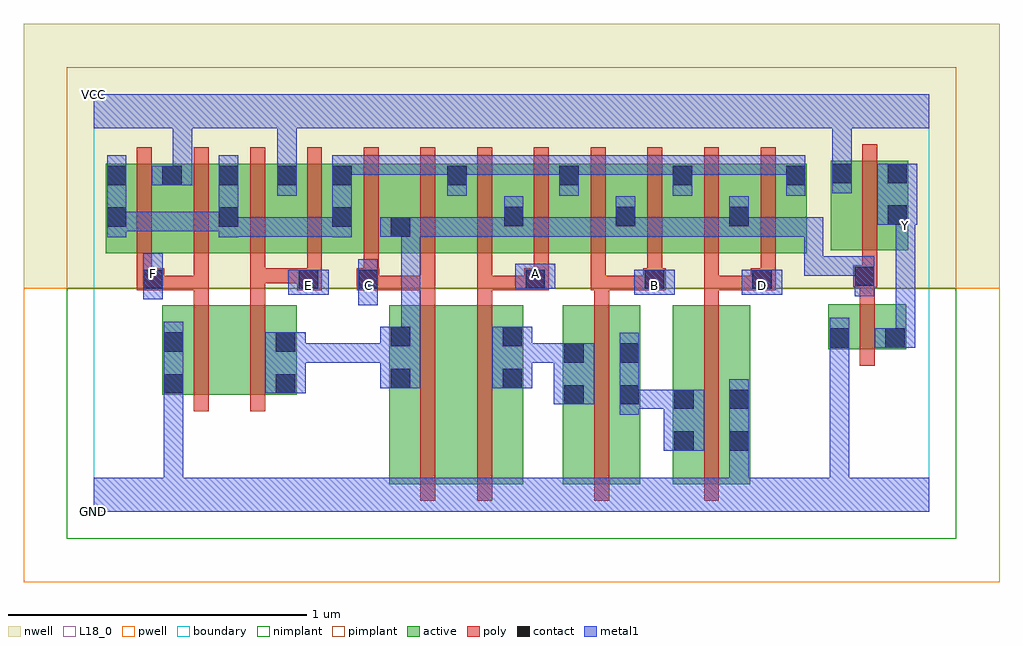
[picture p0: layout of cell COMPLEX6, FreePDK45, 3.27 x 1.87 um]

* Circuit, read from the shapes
.subckt COMPLEX6 A B C D E F GND VCC Y
M1 n1 F GND VSUBS nfet w=0.3u l=0.05u
M2 n2 E n1 VSUBS nfet w=0.3u l=0.05u
M3 n3 C n2 VSUBS nfet w=0.6u l=0.05u
M4 n4 A n3 VSUBS nfet w=0.6u l=0.05u
M5 n5 B n4 VSUBS nfet w=0.6u l=0.05u
M6 GND D n5 VSUBS nfet w=0.6u l=0.05u
M7 Y n2 GND VSUBS nfet w=0.15u l=0.05u
M8 VCC F n6 n7 pfet w=0.3u l=0.05u m=2
M9 VCC E n6 n7 pfet w=0.3u l=0.05u m=2
M10 n2 C n6 n7 pfet w=0.3u l=0.05u m=2
M11 n2 A n6 n7 pfet w=0.3u l=0.05u m=2
M12 n2 B n6 n7 pfet w=0.3u l=0.05u m=2
M13 n2 D n6 n7 pfet w=0.3u l=0.05u m=2
M14 Y n2 VCC n7 pfet w=0.3u l=0.05u
.ends

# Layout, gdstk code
import gdstk
lib = gdstk.Library(unit=1e-6, precision=1e-09)
def R(c, l, rs):  # rectangles x0, y0, x1, y1
    for r in rs: c.add(gdstk.rectangle(r[:2], r[2:], *l))
def A(c, l, x, y, w, h, nx, ny, dx, dy):  # array of equal rectangles
    R(c, l, [(x+i*dx, y+j*dy, x+i*dx+w, y+j*dy+h) for i in range(nx) for j in range(ny)])
active = (1, 0)
pwell = (2, 0)
nwell = (3, 0)
nimplant = (4, 0)
pimplant = (5, 0)
poly = (9, 0)
contact = (10, 0)
metal1 = (11, 0)
L18_0 = (18, 0)
boundary = (235, 0)

complex6 = lib.new_cell('COMPLEX6')
A(complex6, active, 1.555, 0.867, 0.265, 0.3, 4, 1, 0.19, 0)
R(complex6, active, [(0.99,0.092,1.215,0.692), (1.215,0.092,1.44,0.692), (1.572,0.092,1.832,0.692), (1.94,0.092,2.2,0.692), (0.99,0.095,1.095,0.692), (1.365,0.095,1.44,0.692), (1.572,0.095,1.647,0.692), (1.757,0.095,1.832,0.692), (1.94,0.095,2.015,0.692), (2.125,0.095,2.2,0.692), (0.23,0.392,0.305,0.692), (0.23,0.392,0.455,0.692), (0.455,0.392,0.68,0.692), (0.605,0.392,0.68,0.692), (2.462,0.545,2.537,0.695), (2.462,0.545,2.722,0.695), (2.647,0.545,2.722,0.695), (0.04,0.867,0.115,1.167), (0.04,0.867,0.3,1.167), (0.225,0.867,0.49,1.167), (0.415,0.867,0.49,1.165), (0.415,0.867,0.685,1.167), (0.61,0.867,0.87,1.167), (0.795,0.867,0.87,1.165), (0.795,0.867,1.065,1.167), (0.99,0.867,1.255,1.167), (1.18,0.867,1.445,1.167), (1.37,0.867,1.63,1.167), (2.315,0.867,2.39,1.165), (2.47,0.877,2.545,1.177), (2.47,0.877,2.73,1.177), (2.655,0.877,2.73,1.177), (0.99,0.917,1.065,1.07), (1.37,0.952,1.445,1.07), (1.745,0.952,1.82,1.07), (2.125,0.952,2.2,1.07), (0.225,0.995,0.3,1.167), (0.61,0.995,0.685,1.165), (1.18,0.995,1.255,1.165), (1.555,0.995,1.63,1.165), (1.935,0.995,2.01,1.165)])
R(complex6, pwell, [(-0.235,-0.235,3.035,0.75)])
R(complex6, nwell, [(-0.235,0.75,3.035,1.635)])
R(complex6, nimplant, [(-0.09,-0.09,2.89,0.75)])
R(complex6, pimplant, [(-0.09,0.75,2.89,1.49)])
A(complex6, poly, 0.682, 0.742, 0.083, 0.075, 3, 1, 0.76, 0)
A(complex6, poly, 1.285, 0.742, 0.05, 0.12, 3, 1, 0.38, 0)
A(complex6, poly, 0.525, 0.767, 0.05, 0.095, 3, 1, 0.19, 0)
A(complex6, poly, 1.475, 0.767, 0.05, 0.095, 3, 1, 0.38, 0)
A(complex6, poly, 0.145, 0.812, 0.05, 0.41, 12, 1, 0.19, 0)
R(complex6, poly, [(1.095,0.037,1.145,0.747), (1.285,0.037,1.335,0.747), (1.677,0.037,1.727,0.747), (2.045,0.037,2.095,0.747), (0.335,0.337,0.385,0.747), (0.525,0.337,0.575,0.747), (2.567,0.49,2.617,0.75), (0.335,0.697,0.385,0.792), (0.525,0.697,0.575,0.817), (1.095,0.697,1.145,0.792), (1.285,0.697,1.335,0.792), (1.677,0.697,1.727,0.792), (2.045,0.697,2.095,0.792), (2.567,0.7,2.617,0.802), (0.145,0.742,0.237,0.817), (0.187,0.742,0.237,0.792), (0.187,0.742,0.237,0.792), (0.187,0.742,0.385,0.792), (0.335,0.742,0.385,0.792), (0.335,0.742,0.385,0.862), (0.882,0.742,0.957,0.817), (0.907,0.742,0.957,0.792), (0.907,0.742,0.957,0.792), (0.907,0.742,1.145,0.792), (1.095,0.742,1.145,0.792), (1.095,0.742,1.145,0.862), (1.285,0.742,1.335,0.792), (1.285,0.742,1.335,0.792), (1.285,0.742,1.335,0.792), (1.285,0.742,1.492,0.792), (1.665,0.742,1.727,0.792), (1.677,0.742,1.892,0.792), (1.842,0.742,1.892,0.792), (1.842,0.742,1.892,0.792), (1.842,0.742,1.917,0.817), (2.045,0.742,2.095,0.792), (2.045,0.742,2.252,0.792), (2.202,0.742,2.252,0.792), (2.202,0.742,2.252,0.792), (2.545,0.752,2.625,0.827), (0.145,0.767,0.195,0.862), (0.525,0.767,0.575,0.817), (0.525,0.767,0.575,0.817), (0.525,0.767,0.575,0.817), (0.525,0.767,0.732,0.817), (2.575,0.777,2.625,0.872), (2.575,0.822,2.625,1.232)])
A(complex6, contact, 1.56, 1.095, 0.065, 0.065, 3, 1, 0.38, 0)
R(complex6, contact, [(1.945,0.205,2.01,0.27), (2.13,0.205,2.195,0.27), (1.945,0.345,2.01,0.41), (2.13,0.345,2.195,0.41), (1.577,0.36,1.642,0.425), (1.762,0.36,1.827,0.425), (0.235,0.397,0.3,0.462), (0.61,0.397,0.675,0.462), (0.995,0.415,1.06,0.48), (1.37,0.415,1.435,0.48), (1.577,0.5,1.642,0.565), (1.762,0.5,1.827,0.565), (0.235,0.537,0.3,0.602), (0.61,0.537,0.675,0.602), (2.467,0.55,2.532,0.615), (2.652,0.55,2.717,0.615), (0.995,0.555,1.06,0.62), (1.37,0.555,1.435,0.62), (0.167,0.747,0.232,0.812), (0.687,0.747,0.752,0.812), (0.887,0.747,0.952,0.812), (1.447,0.747,1.512,0.812), (1.847,0.747,1.912,0.812), (2.207,0.747,2.272,0.812), (2.55,0.757,2.615,0.822), (0.995,0.922,1.06,0.987), (0.045,0.955,0.11,1.02), (0.42,0.955,0.485,1.02), (0.8,0.955,0.865,1.02), (1.375,0.957,1.44,1.022), (1.75,0.957,1.815,1.022), (2.13,0.957,2.195,1.022), (2.66,0.962,2.725,1.027), (0.045,1.095,0.11,1.16), (0.23,1.095,0.295,1.16), (0.42,1.095,0.485,1.16), (0.615,1.095,0.68,1.16), (0.8,1.095,0.865,1.16), (1.185,1.095,1.25,1.16), (2.475,1.102,2.54,1.167), (2.66,1.102,2.725,1.167)])
A(complex6, metal1, 1.56, 1.06, 0.065, 0.135, 3, 1, 0.38, 0)
R(complex6, metal1, [(0,0,2.8,0.115), (0.235,0.05,0.3,0.427), (2.13,0.05,2.195,0.235), (2.467,0.05,2.532,0.58), (2.13,0.17,2.195,0.445), (1.91,0.205,2.045,0.41), (1.762,0.325,1.827,0.6), (1.762,0.345,1.827,0.41), (1.762,0.345,1.827,0.41), (1.762,0.345,1.975,0.41), (1.542,0.36,1.677,0.565), (0.235,0.362,0.3,0.427), (0.235,0.362,0.3,0.427), (0.235,0.362,0.3,0.427), (0.235,0.362,0.3,0.427), (0.235,0.362,0.3,0.637), (0.575,0.397,0.71,0.602), (0.96,0.415,1.095,0.62), (1.335,0.415,1.47,0.62), (0.645,0.5,0.71,0.565), (0.645,0.5,0.71,0.565), (0.645,0.5,0.887,0.565), (0.822,0.5,0.887,0.565), (0.822,0.5,0.887,0.565), (0.822,0.5,0.887,0.565), (0.822,0.5,1.025,0.565), (1.405,0.5,1.47,0.565), (1.405,0.5,1.47,0.565), (1.405,0.5,1.607,0.565), (2.467,0.515,2.532,0.58), (2.467,0.515,2.532,0.58), (2.467,0.515,2.532,0.58), (2.467,0.515,2.532,0.58), (2.467,0.515,2.532,0.58), (2.467,0.515,2.532,0.58), (2.467,0.515,2.532,0.65), (2.617,0.55,2.752,0.615), (2.687,0.55,2.752,0.957), (1.03,0.555,1.095,0.987), (0.887,0.692,0.952,0.847), (0.167,0.712,0.232,0.867), (2.55,0.722,2.615,0.857), (0.652,0.727,0.787,0.812), (1.812,0.727,1.947,0.812), (2.172,0.727,2.307,0.812), (1.412,0.747,1.547,0.832), (2.38,0.792,2.445,0.857), (2.38,0.792,2.615,0.857), (2.38,0.792,2.445,0.987), (2.687,0.892,2.752,1.027), (0.045,0.92,0.11,1.195), (0.42,0.92,0.485,1.195), (0.8,0.92,0.865,1.195), (0.42,0.922,0.485,0.987), (0.42,0.922,0.485,0.987), (0.42,0.922,0.727,0.987), (0.662,0.922,0.727,0.987), (0.662,0.922,0.727,0.987), (0.662,0.922,0.727,0.987), (0.662,0.922,0.865,0.987), (0.96,0.922,1.095,0.987), (1.03,0.922,1.095,0.987), (1.03,0.922,1.095,0.987), (1.03,0.922,1.095,0.987), (1.03,0.922,1.095,0.987), (1.03,0.922,1.262,0.987), (1.197,0.922,1.262,0.987), (1.197,0.922,1.262,0.987), (1.197,0.922,1.262,0.987), (1.197,0.922,1.44,0.987), (1.375,0.922,1.44,0.987), (1.375,0.922,1.44,0.987), (1.375,0.922,1.44,1.057), (1.375,0.922,1.607,0.987), (1.542,0.922,1.607,0.987), (1.542,0.922,1.607,0.987), (1.542,0.922,1.607,0.987), (1.542,0.922,1.815,0.987), (1.75,0.922,1.815,0.987), (1.75,0.922,1.815,0.987), (1.75,0.922,1.815,1.057), (1.75,0.922,2.057,0.987), (1.992,0.922,2.057,0.987), (1.992,0.922,2.057,0.987), (1.992,0.922,2.057,0.987), (1.992,0.922,2.195,0.987), (2.13,0.922,2.195,0.987), (2.13,0.922,2.195,0.987), (2.13,0.922,2.195,1.057), (2.13,0.922,2.332,0.987), (2.267,0.922,2.332,0.987), (2.267,0.922,2.445,0.987), (2.38,0.922,2.445,0.987), (0.045,0.94,0.11,1.005), (0.045,0.94,0.11,1.005), (0.045,0.94,0.247,1.005), (0.182,0.94,0.247,1.005), (0.182,0.94,0.247,1.005), (0.182,0.94,0.247,1.005), (0.182,0.94,0.485,1.005), (2.625,0.962,2.76,1.167), (2.687,0.962,2.752,1.027), (0.615,1.06,0.68,1.195), (1.185,1.06,1.25,1.195), (2.475,1.067,2.54,1.202), (0.195,1.095,0.33,1.16), (0.265,1.095,0.33,1.16), (0.265,1.095,0.33,1.16), (0.265,1.095,0.33,1.35), (0.615,1.13,0.68,1.35), (0.8,1.13,0.865,1.195), (0.8,1.13,0.865,1.195), (0.8,1.13,0.865,1.195), (0.8,1.13,0.865,1.195), (0.8,1.13,1.112,1.195), (1.047,1.13,1.112,1.195), (1.047,1.13,1.112,1.195), (1.047,1.13,1.112,1.195), (1.047,1.13,1.25,1.195), (1.185,1.13,1.25,1.195), (1.185,1.13,1.25,1.195), (1.185,1.13,1.47,1.195), (1.405,1.13,1.47,1.195), (1.405,1.13,1.47,1.195), (1.405,1.13,1.47,1.195), (1.405,1.13,1.625,1.195), (1.56,1.13,1.625,1.195), (1.56,1.13,1.625,1.195), (1.56,1.13,1.837,1.195), (1.772,1.13,1.837,1.195), (1.772,1.13,1.837,1.195), (1.772,1.13,1.837,1.195), (1.772,1.13,2.005,1.195), (1.94,1.13,2.005,1.195), (1.94,1.13,2.005,1.195), (1.94,1.13,2.195,1.195), (2.13,1.13,2.195,1.195), (2.13,1.13,2.195,1.195), (2.13,1.13,2.195,1.195), (2.13,1.13,2.385,1.195), (2.475,1.137,2.54,1.35), (0,1.285,2.8,1.4), (0.615,1.285,0.68,1.35), (0.615,1.285,0.68,1.35), (2.475,1.285,2.54,1.35), (2.475,1.285,2.54,1.35)])
R(complex6, L18_0, [(0,0,2.8,0.115), (0.235,0.05,0.3,0.427), (2.13,0.05,2.195,0.235), (2.467,0.05,2.532,0.58), (2.13,0.17,2.195,0.445), (0.235,0.362,0.3,0.427), (0.235,0.362,0.3,0.427), (0.235,0.362,0.3,0.427), (0.235,0.362,0.3,0.427), (0.235,0.362,0.3,0.637), (2.467,0.515,2.532,0.58), (2.467,0.515,2.532,0.58), (2.467,0.515,2.532,0.58), (2.467,0.515,2.532,0.58), (2.467,0.515,2.532,0.58), (2.467,0.515,2.532,0.58), (2.467,0.515,2.532,0.65), (2.617,0.55,2.752,0.615), (2.687,0.55,2.752,0.957), (0.887,0.692,0.952,0.847), (0.167,0.712,0.232,0.867), (0.652,0.727,0.787,0.812), (0.687,0.727,0.752,0.792), (0.887,0.727,0.952,0.792), (1.812,0.727,1.947,0.812), (1.847,0.727,1.912,0.792), (2.172,0.727,2.307,0.812), (2.207,0.727,2.272,0.792), (1.412,0.747,1.547,0.832), (0.167,0.767,0.232,0.832), (1.447,0.767,1.512,0.832), (2.687,0.892,2.752,1.027), (2.687,0.927,2.752,0.992), (2.625,0.962,2.76,1.167), (2.687,0.962,2.752,1.027), (0.615,1.06,0.68,1.195), (2.475,1.067,2.54,1.202), (0.195,1.095,0.33,1.16), (0.265,1.095,0.33,1.16), (0.265,1.095,0.33,1.16), (0.265,1.095,0.33,1.35), (0.615,1.13,0.68,1.35), (2.475,1.137,2.54,1.35), (0,1.285,2.8,1.4), (0.615,1.285,0.68,1.35), (0.615,1.285,0.68,1.35), (2.475,1.285,2.54,1.35), (2.475,1.285,2.54,1.35)])
R(complex6, boundary, [(0,0,2.8,1.4)])
complex6.add(gdstk.Label('A', (1.48,0.8), layer=11, texttype=0))
complex6.add(gdstk.Label('B', (1.88,0.76), layer=11, texttype=0))
complex6.add(gdstk.Label('C', (0.92,0.76), layer=11, texttype=0))
complex6.add(gdstk.Label('D', (2.24,0.76), layer=11, texttype=0))
complex6.add(gdstk.Label('E', (0.72,0.76), layer=11, texttype=0))
complex6.add(gdstk.Label('F', (0.2,0.8), layer=11, texttype=0))
complex6.add(gdstk.Label('Y', (2.72,0.96), layer=11, texttype=0))
complex6.add(gdstk.Label('VCC', (0,1.4), layer=11, texttype=0))
complex6.add(gdstk.Label('GND', (0,0), layer=11, texttype=0))

lib.write_gds('COMPLEX6.gds')
